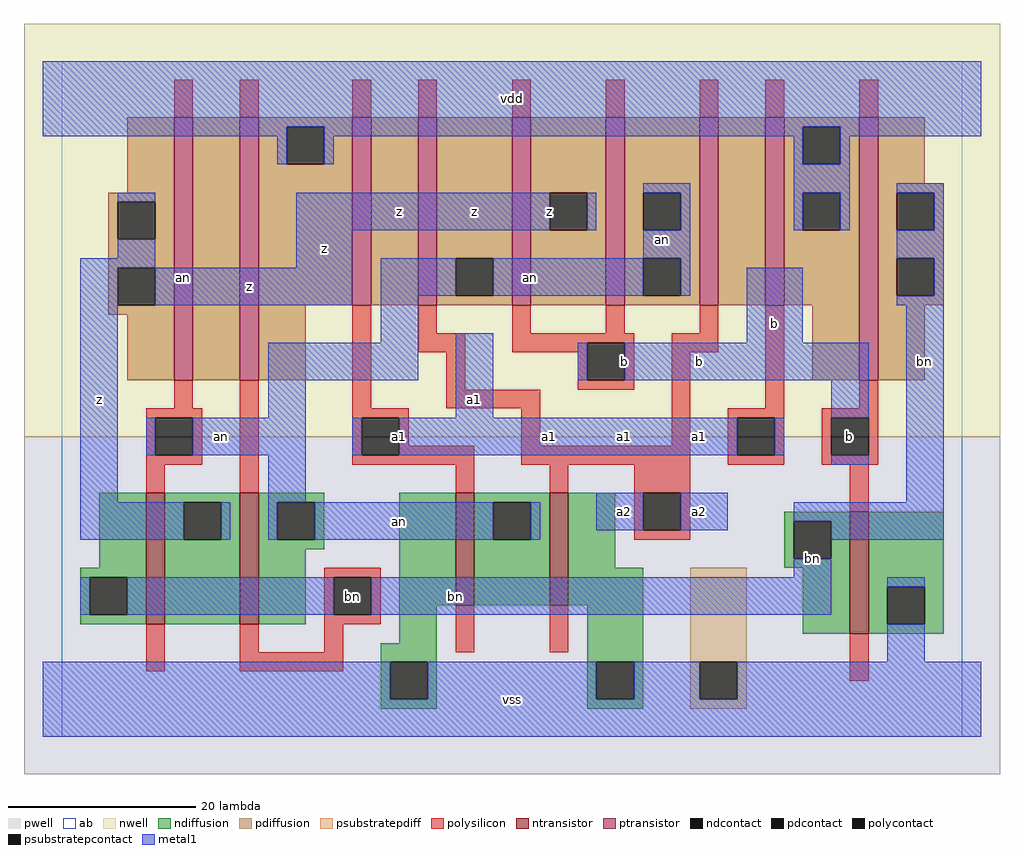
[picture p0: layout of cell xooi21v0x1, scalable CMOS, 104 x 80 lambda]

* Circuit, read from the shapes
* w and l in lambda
.subckt xooi21v0x1 a1 a2 an b bn vdd vss z
M1 z an bn vss nfet w=14 l=2
M2 an bn z vss nfet w=14 l=2
M3 an a1 vss vss nfet w=12 l=2
M4 vss a2 an vss nfet w=12 l=2
M5 vss b bn vss nfet w=13 l=2
M6 n1 an z n2 pfet w=28 l=2
M7 vdd bn n1 n2 pfet w=28 l=2
M8 n3 a1 vdd n2 pfet w=20 l=2
M9 an a2 n3 n2 pfet w=20 l=2
M10 z b an n2 pfet w=20 l=2 m=2
M11 n4 a2 an n2 pfet w=20 l=2
M12 vdd a1 n4 n2 pfet w=20 l=2
M13 bn b vdd n2 pfet w=28 l=2
.ends

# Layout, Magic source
magic
tech scmos
<< ab >>
rect 0 0 96 72
<< pwell >>
rect -4 -4 100 32
<< nwell >>
rect -4 32 100 76
<< polysilicon >>
rect 12 66 14 70
rect 19 66 21 70
rect 31 66 33 70
rect 38 66 40 70
rect 48 66 50 70
rect 58 66 60 70
rect 68 66 70 70
rect 75 66 77 70
rect 85 66 87 70
rect 12 35 14 38
rect 9 34 15 35
rect 9 30 10 34
rect 14 30 15 34
rect 9 29 15 30
rect 9 26 11 29
rect 19 26 21 38
rect 31 35 33 46
rect 38 43 40 46
rect 48 43 50 46
rect 58 43 60 46
rect 68 43 70 46
rect 38 41 43 43
rect 48 42 61 43
rect 48 41 56 42
rect 41 37 43 41
rect 55 38 56 41
rect 60 38 61 42
rect 55 37 61 38
rect 65 41 70 43
rect 41 35 51 37
rect 31 34 37 35
rect 31 30 32 34
rect 36 31 37 34
rect 49 31 51 35
rect 65 31 67 41
rect 75 35 77 46
rect 85 35 87 38
rect 36 30 44 31
rect 31 29 44 30
rect 49 29 67 31
rect 71 34 77 35
rect 71 30 72 34
rect 76 30 77 34
rect 71 29 77 30
rect 81 34 87 35
rect 81 30 82 34
rect 86 30 87 34
rect 81 29 87 30
rect 42 26 44 29
rect 52 26 54 29
rect 61 26 67 29
rect 28 17 34 18
rect 28 13 29 17
rect 33 13 34 17
rect 28 12 34 13
rect 61 22 62 26
rect 66 22 67 26
rect 84 24 86 29
rect 61 21 67 22
rect 9 7 11 12
rect 19 9 21 12
rect 28 9 30 12
rect 19 7 30 9
rect 42 9 44 14
rect 52 9 54 14
rect 84 6 86 11
<< ndiffusion >>
rect 4 18 9 26
rect 2 17 9 18
rect 2 13 3 17
rect 7 13 9 17
rect 2 12 9 13
rect 11 25 19 26
rect 11 21 13 25
rect 17 21 19 25
rect 11 12 19 21
rect 21 25 28 26
rect 21 21 23 25
rect 27 21 28 25
rect 21 20 28 21
rect 21 12 26 20
rect 36 14 42 26
rect 44 25 52 26
rect 44 21 46 25
rect 50 21 52 25
rect 44 14 52 21
rect 54 18 59 26
rect 77 23 84 24
rect 77 19 78 23
rect 82 19 84 23
rect 77 18 84 19
rect 54 14 62 18
rect 36 10 40 14
rect 34 8 40 10
rect 34 4 35 8
rect 39 4 40 8
rect 34 3 40 4
rect 56 8 62 14
rect 56 4 57 8
rect 61 4 62 8
rect 56 3 62 4
rect 79 11 84 18
rect 86 16 94 24
rect 86 12 88 16
rect 92 12 94 16
rect 86 11 94 12
<< pdiffusion >>
rect 7 58 12 66
rect 5 57 12 58
rect 5 53 6 57
rect 10 53 12 57
rect 5 50 12 53
rect 5 46 6 50
rect 10 46 12 50
rect 5 45 12 46
rect 7 38 12 45
rect 14 38 19 66
rect 21 65 31 66
rect 21 61 24 65
rect 28 61 31 65
rect 21 46 31 61
rect 33 46 38 66
rect 40 51 48 66
rect 40 47 42 51
rect 46 47 48 51
rect 40 46 48 47
rect 50 58 58 66
rect 50 54 52 58
rect 56 54 58 58
rect 50 46 58 54
rect 60 58 68 66
rect 60 54 62 58
rect 66 54 68 58
rect 60 51 68 54
rect 60 47 62 51
rect 66 47 68 51
rect 60 46 68 47
rect 70 46 75 66
rect 77 65 85 66
rect 77 61 79 65
rect 83 61 85 65
rect 77 58 85 61
rect 77 54 79 58
rect 83 54 85 58
rect 77 46 85 54
rect 21 38 26 46
rect 80 38 85 46
rect 87 59 92 66
rect 87 58 94 59
rect 87 54 89 58
rect 93 54 94 58
rect 87 51 94 54
rect 87 47 89 51
rect 93 47 94 51
rect 87 46 94 47
rect 87 38 92 46
<< metal1 >>
rect -2 65 98 72
rect -2 64 24 65
rect 23 61 24 64
rect 28 64 79 65
rect 28 61 29 64
rect 78 61 79 64
rect 83 64 98 65
rect 83 61 84 64
rect 62 58 67 59
rect 6 57 10 58
rect 6 51 10 53
rect 2 50 10 51
rect 25 54 52 58
rect 56 54 57 58
rect 66 54 67 58
rect 78 58 84 61
rect 78 54 79 58
rect 83 54 84 58
rect 89 58 94 59
rect 93 54 94 58
rect 25 50 31 54
rect 62 51 67 54
rect 2 25 6 50
rect 10 46 31 50
rect 34 47 42 51
rect 46 47 62 51
rect 66 47 67 51
rect 89 51 94 54
rect 34 42 38 47
rect 22 38 38 42
rect 22 34 26 38
rect 42 34 46 43
rect 73 42 79 50
rect 93 47 94 51
rect 89 46 94 47
rect 55 38 56 42
rect 60 38 86 42
rect 82 34 86 38
rect 9 30 10 34
rect 14 30 26 34
rect 31 30 32 34
rect 36 30 72 34
rect 76 30 77 34
rect 22 25 26 30
rect 82 29 86 30
rect 2 21 13 25
rect 17 21 18 25
rect 22 21 23 25
rect 27 21 46 25
rect 50 21 51 25
rect 57 22 62 26
rect 66 22 71 26
rect 90 25 94 46
rect 78 23 94 25
rect 82 21 94 23
rect 78 17 82 19
rect 2 13 3 17
rect 7 13 29 17
rect 33 13 82 17
rect 88 16 92 17
rect 88 8 92 12
rect -2 4 35 8
rect 39 4 57 8
rect 61 4 68 8
rect 72 4 98 8
rect -2 0 98 4
<< ntransistor >>
rect 9 12 11 26
rect 19 12 21 26
rect 42 14 44 26
rect 52 14 54 26
rect 84 11 86 24
<< ptransistor >>
rect 12 38 14 66
rect 19 38 21 66
rect 31 46 33 66
rect 38 46 40 66
rect 48 46 50 66
rect 58 46 60 66
rect 68 46 70 66
rect 75 46 77 66
rect 85 38 87 66
<< polycontact >>
rect 10 30 14 34
rect 56 38 60 42
rect 32 30 36 34
rect 72 30 76 34
rect 82 30 86 34
rect 29 13 33 17
rect 62 22 66 26
<< ndcontact >>
rect 3 13 7 17
rect 13 21 17 25
rect 23 21 27 25
rect 46 21 50 25
rect 78 19 82 23
rect 35 4 39 8
rect 57 4 61 8
rect 88 12 92 16
<< pdcontact >>
rect 6 53 10 57
rect 6 46 10 50
rect 24 61 28 65
rect 42 47 46 51
rect 52 54 56 58
rect 62 54 66 58
rect 62 47 66 51
rect 79 61 83 65
rect 79 54 83 58
rect 89 54 93 58
rect 89 47 93 51
<< psubstratepcontact >>
rect 68 4 72 8
<< psubstratepdiff >>
rect 67 8 73 18
rect 67 4 68 8
rect 72 4 73 8
rect 67 3 73 4
<< labels >>
rlabel ptransistor 13 49 13 49 6 an
rlabel polycontact 31 15 31 15 6 bn
rlabel metal1 4 36 4 36 6 z
rlabel metal1 12 48 12 48 6 z
rlabel metal1 17 32 17 32 6 an
rlabel metal1 20 48 20 48 6 z
rlabel metal1 28 52 28 52 6 z
rlabel metal1 48 4 48 4 6 vss
rlabel metal1 36 23 36 23 6 an
rlabel metal1 52 32 52 32 6 a1
rlabel metal1 36 32 36 32 6 a1
rlabel metal1 44 36 44 36 6 a1
rlabel metal1 44 56 44 56 6 z
rlabel metal1 52 56 52 56 6 z
rlabel metal1 36 56 36 56 6 z
rlabel metal1 48 68 48 68 6 vdd
rlabel metal1 60 24 60 24 6 a2
rlabel metal1 68 24 68 24 6 a2
rlabel metal1 68 32 68 32 6 a1
rlabel metal1 60 32 60 32 6 a1
rlabel metal1 60 40 60 40 6 b
rlabel metal1 68 40 68 40 6 b
rlabel metal1 76 44 76 44 6 b
rlabel metal1 50 49 50 49 6 an
rlabel metal1 64 53 64 53 6 an
rlabel metal1 80 19 80 19 6 bn
rlabel metal1 42 15 42 15 6 bn
rlabel polycontact 84 32 84 32 6 b
rlabel metal1 92 40 92 40 6 bn
<< end >>
